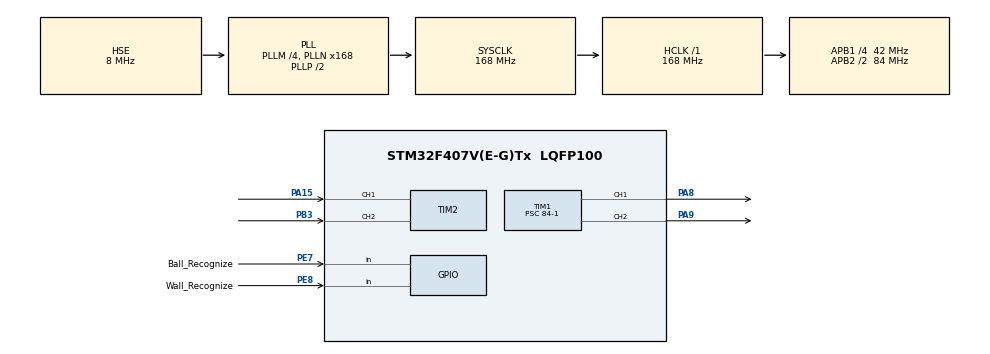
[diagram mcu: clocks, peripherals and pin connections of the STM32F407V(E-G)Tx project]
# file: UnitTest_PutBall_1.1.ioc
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FREERTOS.Tasks01=AccelTask,1,128,StartAccelTask,Default,NULL,Dynamic,NULL,NULL;LogicTask,-1,128,StartLogicTask,Default,NULL,Dynamic,NULL,NULL
Mcu.Family=STM32F4
Mcu.Name=STM32F407V(E-G)Tx
Mcu.Package=LQFP100
NVIC.PriorityGroup=NVIC_PRIORITYGROUP_4
NVIC.TIM2_IRQn=true\:5\:0\:false\:false\:true\:true\:true\:true\:true
NVIC.TIM8_TRG_COM_TIM14_IRQn=true\:15\:0\:false\:false\:true\:false\:false\:true\:true
NVIC.TimeBase=TIM8_TRG_COM_TIM14_IRQn
NVIC.TimeBaseIP=TIM14
PA13.Mode=Serial_Wire
PA13.Signal=SYS_JTMS-SWDIO
PA14.Mode=Serial_Wire
PA14.Signal=SYS_JTCK-SWCLK
PA15.Signal=S_TIM2_CH1_ETR
PA8.Signal=S_TIM1_CH1
PA9.Signal=S_TIM1_CH2
PB3.Signal=S_TIM2_CH2
PE7.GPIO_Label=Ball_Recognize
PE7.Signal=GPIO_Input
PE8.GPIO_Label=Wall_Recognize
PE8.Signal=GPIO_Input
PH0-OSC_IN.Mode=HSE-External-Oscillator
PH0-OSC_IN.Signal=RCC_OSC_IN
PH1-OSC_OUT.Mode=HSE-External-Oscillator
PH1-OSC_OUT.Signal=RCC_OSC_OUT
ProjectManager.HeapSize=0x200
ProjectManager.StackSize=0x400
ProjectManager.TargetToolchain=STM32CubeIDE
RCC.48MHZClocksFreq_Value=84000000
RCC.AHBFreq_Value=168000000
RCC.APB1CLKDivider=RCC_HCLK_DIV4
RCC.APB1Freq_Value=42000000
RCC.APB1TimFreq_Value=84000000
RCC.APB2CLKDivider=RCC_HCLK_DIV2
RCC.APB2Freq_Value=84000000
RCC.APB2TimFreq_Value=168000000
RCC.CortexFreq_Value=168000000
RCC.HCLKFreq_Value=168000000
RCC.HSE_VALUE=8000000
RCC.HSI_VALUE=16000000
RCC.LSE_VALUE=32768
RCC.PLLM=4
RCC.PLLN=168
RCC.PLLSourceVirtual=RCC_PLLSOURCE_HSE
RCC.SYSCLKFreq_VALUE=168000000
RCC.SYSCLKSource=RCC_SYSCLKSOURCE_PLLCLK
RCC.VCOOutputFreq_Value=336000000
SH.S_TIM1_CH1.0=TIM1_CH1,PWM Generation1 CH1
SH.S_TIM1_CH2.0=TIM1_CH2,PWM Generation2 CH2
SH.S_TIM2_CH1_ETR.0=TIM2_CH1,Encoder_Interface
SH.S_TIM2_CH2.0=TIM2_CH2,Encoder_Interface
TIM1.Channel-PWM\ Generation1\ CH1=TIM_CHANNEL_1
TIM1.Channel-PWM\ Generation2\ CH2=TIM_CHANNEL_2
TIM1.Period=1000-1
TIM1.Prescaler=84-1
TIM2.EncoderMode=TIM_ENCODERMODE_TI12
VP_FREERTOS_VS_CMSIS_V1.Mode=CMSIS_V1
VP_SYS_VS_tim14.Mode=TIM14
VP_TIM1_VS_ClockSourceINT.Mode=Internal
board=custom

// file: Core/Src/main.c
/* USER CODE BEGIN Header */
/**
  ******************************************************************************
  * @file           : main.c
  * @brief          : Main program body
  ******************************************************************************
  * @attention
  *
  * Copyright (c) 2023 STMicroelectronics.
  * All rights reserved.
  *
  * This software is licensed under terms that can be found in the LICENSE file
  * in the root directory of this software component.
  * If no LICENSE file comes with this software, it is provided AS-IS.
  *
  ******************************************************************************
  */
/* USER CODE END Header */
#include "main.h"
#include "cmsis_os.h"

/* USER CODE BEGIN Includes */
#include "DriveMotor.h"
#include "Accel.h"
#include "Encoder.h"
/* USER CODE END Includes */

TIM_HandleTypeDef htim1;
TIM_HandleTypeDef htim2;

osThreadId AccelTaskHandle;
osThreadId LogicTaskHandle;
/* USER CODE BEGIN PV */
float Target_PWM;
float Target_Time;

uint8_t putBallFlag = 0;
uint16_t attempt = 0;
uint8_t __isBall = 0;
uint8_t __isWall = 0;
uint8_t __isReady = 0;
uint8_t Ball_State = 0;
uint8_t Wall_State = 0;
uint16_t Ball_RecognizeTime = 0;
uint16_t Wall_RecognizeTime = 0;

MotorDrive DC;
Accel_Param Accel_DC;
EncoderRead ENC_DC;
/* USER CODE END PV */

void SystemClock_Config(void);
static void MX_GPIO_Init(void);
static void MX_TIM1_Init(void);
static void MX_TIM2_Init(void);
void StartAccelTask(void const * argument);
void StartLogicTask(void const * argument);

/* USER CODE BEGIN 0 */
void Manual_SetHome()
{
	DC_Drive_BTS(&DC, &htim1, 1000, 200, TIM_CHANNEL_1, TIM_CHANNEL_2);
	osDelay(5000);
	DC_Drive_BTS(&DC, &htim1, 1000, 0, TIM_CHANNEL_1, TIM_CHANNEL_2);
	ResetCount(&ENC_DC, 1);
	__isReady = 1;

}

void PutBall()
{
//	if(putBallFlag == 1)
//	{
//		attempt++;
//		if(attempt > 400)
//		{
//			ResetCount(&ENC_DC, 1);
//			Target_PWM = 300;
//			Target_Time = 2;
//			putBallFlag = 2;
//			attempt = 0;
//		}
// 	}
// 	else if(putBallFlag == 2)
// 	{
// 		if(CountRead(&ENC_DC, count_ModeX1) > 95000)
// 		{
// 			Target_PWM = 0;
// 			Target_Time = 1;
// 	 		attempt++;
// 	 		if(attempt > 200)
// 	 		{
// 	 			ResetCount(&ENC_DC, 1);
// 	 			attempt = 0;
// 				putBallFlag = 0;
// 	 		}
// 		}
// 	}
// 	else
// 	{
// 		if(CountRead(&ENC_DC, count_ModeX1) >= -40000)
// 		{
// 			Target_PWM = -400;
// 			Target_Time = 0.5;
// 		}
// 		if(CountRead(&ENC_DC, count_ModeX1) < -40000)
// 		{
// 			Target_PWM = 0;
// 			Target_Time = 1;
// 			putBallFlag = 1;
// 		}
// 	}
	if(__isBall)
	{
		if(!putBallFlag)
		{
			if(!__isWall)
			{
				if(CountRead(&ENC_DC, count_ModeX1) >= -70000)
				{
					Target_PWM = -300;
					Target_Time = 0.5;
				}
				else if(CountRead(&ENC_DC, count_ModeX1) < -70000)
				{
					Target_PWM = 0;
					Target_Time = 0.1;
				}
			}
			else
			{
				if(CountRead(&ENC_DC, count_ModeX1) >= -80000)
				{
					Target_PWM = -400;
					Target_Time = 0.1;
				}
				else if(CountRead(&ENC_DC, count_ModeX1) < -82000)
				{
					Target_PWM = 0;
					Target_Time = 1.4;
					attempt++;
					if(attempt > 200)
					{
						attempt = 0;
						putBallFlag = 1;
					}
				}
			}
		}
		else
		{
			if(CountRead(&ENC_DC, count_ModeX1) < -20000)
			{
				Target_PWM = 300;
				Target_Time = 1;
			}
			else
			{
				Target_PWM = 0;
				Target_Time = 0.8;
				attempt++;
				if(attempt > 200)
				{
					ResetCount(&ENC_DC, 1);
					__isBall = 0;
					__isWall = 0;
					attempt = 0;
					Ball_RecognizeTime = 0;
					Wall_RecognizeTime = 0;
					putBallFlag = 0;
				}
			}
		}
	}
	Accel_Cal(&Accel_DC, Target_PWM, Target_Time);
	DC_Drive_BTS(&DC, &htim1, 1000, Accel_DC.vel_controller, TIM_CHANNEL_1, TIM_CHANNEL_2);
}
/* USER CODE END 0 */

int main(void)
{

  /* MCU Configuration--------------------------------------------------------*/

  /* Reset of all peripherals, Initializes the Flash interface and the Systick. */
  HAL_Init();

  /* Configure the system clock */
  SystemClock_Config();

  /* Initialize all configured peripherals */
  MX_GPIO_Init();
  MX_TIM1_Init();
  MX_TIM2_Init();
  /* USER CODE BEGIN 2 */
  HAL_TIM_PWM_Start(&htim1, TIM_CHANNEL_1);
  HAL_TIM_PWM_Start(&htim1, TIM_CHANNEL_2);

  HAL_TIM_Encoder_Start_IT(&htim2, TIM_CHANNEL_ALL);
  EncoderSetting(&ENC_DC, &htim2, 19200, 0.001);
  /* USER CODE END 2 */

  /* Create the thread(s) */
  /* definition and creation of AccelTask */
  osThreadDef(AccelTask, StartAccelTask, osPriorityAboveNormal, 0, 128);
  AccelTaskHandle = osThreadCreate(osThread(AccelTask), NULL);

  /* definition and creation of LogicTask */
  osThreadDef(LogicTask, StartLogicTask, osPriorityBelowNormal, 0, 128);
  LogicTaskHandle = osThreadCreate(osThread(LogicTask), NULL);

  /* Start scheduler */
  osKernelStart();

  /* We should never get here as control is now taken by the scheduler */
  /* Infinite loop */
  while (1)
  {

  }
}

void SystemClock_Config(void)
{
  RCC_OscInitTypeDef RCC_OscInitStruct = {0};
  RCC_ClkInitTypeDef RCC_ClkInitStruct = {0};

  /** Configure the main internal regulator output voltage
  */
  __HAL_RCC_PWR_CLK_ENABLE();
  __HAL_PWR_VOLTAGESCALING_CONFIG(PWR_REGULATOR_VOLTAGE_SCALE1);

  /** Initializes the RCC Oscillators according to the specified parameters
  * in the RCC_OscInitTypeDef structure.
  */
  RCC_OscInitStruct.OscillatorType = RCC_OSCILLATORTYPE_HSE;
  RCC_OscInitStruct.HSEState = RCC_HSE_ON;
  RCC_OscInitStruct.PLL.PLLState = RCC_PLL_ON;
  RCC_OscInitStruct.PLL.PLLSource = RCC_PLLSOURCE_HSE;
  RCC_OscInitStruct.PLL.PLLM = 4;
  RCC_OscInitStruct.PLL.PLLN = 168;
  RCC_OscInitStruct.PLL.PLLP = RCC_PLLP_DIV2;
  RCC_OscInitStruct.PLL.PLLQ = 4;
  if (HAL_RCC_OscConfig(&RCC_OscInitStruct) != HAL_OK)
  {
    Error_Handler();
  }

  /** Initializes the CPU, AHB and APB buses clocks
  */
  RCC_ClkInitStruct.ClockType = RCC_CLOCKTYPE_HCLK|RCC_CLOCKTYPE_SYSCLK
                              |RCC_CLOCKTYPE_PCLK1|RCC_CLOCKTYPE_PCLK2;
  RCC_ClkInitStruct.SYSCLKSource = RCC_SYSCLKSOURCE_PLLCLK;
  RCC_ClkInitStruct.AHBCLKDivider = RCC_SYSCLK_DIV1;
  RCC_ClkInitStruct.APB1CLKDivider = RCC_HCLK_DIV4;
  RCC_ClkInitStruct.APB2CLKDivider = RCC_HCLK_DIV2;

  if (HAL_RCC_ClockConfig(&RCC_ClkInitStruct, FLASH_LATENCY_5) != HAL_OK)
  {
    Error_Handler();
  }
}

static void MX_TIM1_Init(void)
{

  TIM_ClockConfigTypeDef sClockSourceConfig = {0};
  TIM_MasterConfigTypeDef sMasterConfig = {0};
  TIM_OC_InitTypeDef sConfigOC = {0};
  TIM_BreakDeadTimeConfigTypeDef sBreakDeadTimeConfig = {0};

  htim1.Instance = TIM1;
  htim1.Init.Prescaler = 84-1;
  htim1.Init.CounterMode = TIM_COUNTERMODE_UP;
  htim1.Init.Period = 1000-1;
  htim1.Init.ClockDivision = TIM_CLOCKDIVISION_DIV1;
  htim1.Init.RepetitionCounter = 0;
  htim1.Init.AutoReloadPreload = TIM_AUTORELOAD_PRELOAD_DISABLE;
  if (HAL_TIM_Base_Init(&htim1) != HAL_OK)
  {
    Error_Handler();
  }
  sClockSourceConfig.ClockSource = TIM_CLOCKSOURCE_INTERNAL;
  if (HAL_TIM_ConfigClockSource(&htim1, &sClockSourceConfig) != HAL_OK)
  {
    Error_Handler();
  }
  if (HAL_TIM_PWM_Init(&htim1) != HAL_OK)
  {
    Error_Handler();
  }
  sMasterConfig.MasterOutputTrigger = TIM_TRGO_RESET;
  sMasterConfig.MasterSlaveMode = TIM_MASTERSLAVEMODE_DISABLE;
  if (HAL_TIMEx_MasterConfigSynchronization(&htim1, &sMasterConfig) != HAL_OK)
  {
    Error_Handler();
  }
  sConfigOC.OCMode = TIM_OCMODE_PWM1;
  sConfigOC.Pulse = 0;
  sConfigOC.OCPolarity = TIM_OCPOLARITY_HIGH;
  sConfigOC.OCNPolarity = TIM_OCNPOLARITY_HIGH;
  sConfigOC.OCFastMode = TIM_OCFAST_DISABLE;
  sConfigOC.OCIdleState = TIM_OCIDLESTATE_RESET;
  sConfigOC.OCNIdleState = TIM_OCNIDLESTATE_RESET;
  if (HAL_TIM_PWM_ConfigChannel(&htim1, &sConfigOC, TIM_CHANNEL_1) != HAL_OK)
  {
    Error_Handler();
  }
  if (HAL_TIM_PWM_ConfigChannel(&htim1, &sConfigOC, TIM_CHANNEL_2) != HAL_OK)
  {
    Error_Handler();
  }
  sBreakDeadTimeConfig.OffStateRunMode = TIM_OSSR_DISABLE;
  sBreakDeadTimeConfig.OffStateIDLEMode = TIM_OSSI_DISABLE;
  sBreakDeadTimeConfig.LockLevel = TIM_LOCKLEVEL_OFF;
  sBreakDeadTimeConfig.DeadTime = 0;
  sBreakDeadTimeConfig.BreakState = TIM_BREAK_DISABLE;
  sBreakDeadTimeConfig.BreakPolarity = TIM_BREAKPOLARITY_HIGH;
  sBreakDeadTimeConfig.AutomaticOutput = TIM_AUTOMATICOUTPUT_DISABLE;
  if (HAL_TIMEx_ConfigBreakDeadTime(&htim1, &sBreakDeadTimeConfig) != HAL_OK)
  {
    Error_Handler();
  }
  HAL_TIM_MspPostInit(&htim1);

}

static void MX_TIM2_Init(void)
{

  TIM_Encoder_InitTypeDef sConfig = {0};
  TIM_MasterConfigTypeDef sMasterConfig = {0};

  htim2.Instance = TIM2;
  htim2.Init.Prescaler = 0;
  htim2.Init.CounterMode = TIM_COUNTERMODE_UP;
  htim2.Init.Period = 4294967295;
  htim2.Init.ClockDivision = TIM_CLOCKDIVISION_DIV1;
  htim2.Init.AutoReloadPreload = TIM_AUTORELOAD_PRELOAD_DISABLE;
  sConfig.EncoderMode = TIM_ENCODERMODE_TI12;
  sConfig.IC1Polarity = TIM_ICPOLARITY_RISING;
  sConfig.IC1Selection = TIM_ICSELECTION_DIRECTTI;
  sConfig.IC1Prescaler = TIM_ICPSC_DIV1;
  sConfig.IC1Filter = 0;
  sConfig.IC2Polarity = TIM_ICPOLARITY_RISING;
  sConfig.IC2Selection = TIM_ICSELECTION_DIRECTTI;
  sConfig.IC2Prescaler = TIM_ICPSC_DIV1;
  sConfig.IC2Filter = 0;
  if (HAL_TIM_Encoder_Init(&htim2, &sConfig) != HAL_OK)
  {
    Error_Handler();
  }
  sMasterConfig.MasterOutputTrigger = TIM_TRGO_RESET;
  sMasterConfig.MasterSlaveMode = TIM_MASTERSLAVEMODE_DISABLE;
  if (HAL_TIMEx_MasterConfigSynchronization(&htim2, &sMasterConfig) != HAL_OK)
  {
    Error_Handler();
  }

}

static void MX_GPIO_Init(void)
{
  GPIO_InitTypeDef GPIO_InitStruct = {0};

  /* GPIO Ports Clock Enable */
  __HAL_RCC_GPIOH_CLK_ENABLE();
  __HAL_RCC_GPIOE_CLK_ENABLE();
  __HAL_RCC_GPIOA_CLK_ENABLE();
  __HAL_RCC_GPIOB_CLK_ENABLE();

  /*Configure GPIO pins : Ball_Recognize_Pin Wall_Recognize_Pin */
  GPIO_InitStruct.Pin = Ball_Recognize_Pin|Wall_Recognize_Pin;
  GPIO_InitStruct.Mode = GPIO_MODE_INPUT;
  GPIO_InitStruct.Pull = GPIO_NOPULL;
  HAL_GPIO_Init(GPIOE, &GPIO_InitStruct);

}

void StartAccelTask(void const * argument)
{
  /* USER CODE BEGIN 5 */
  /* Infinite loop */
  for(;;)
  {
	if(!__isReady)
	{
		Manual_SetHome();
	}
	else
	{
		PutBall();
	}
    osDelay(10);
  }
  /* USER CODE END 5 */
}

void StartLogicTask(void const * argument)
{
  /* USER CODE BEGIN StartLogicTask */
  /* Infinite loop */
  for(;;)
  {
	CountRead(&ENC_DC, count_ModeX1);
	Ball_State = HAL_GPIO_ReadPin(Ball_Recognize_GPIO_Port, Ball_Recognize_Pin);
	Wall_State = HAL_GPIO_ReadPin(Wall_Recognize_GPIO_Port, Wall_Recognize_Pin);
	if(!Ball_State)
	{
		if(Ball_RecognizeTime >= 2000)
		{
			__isBall = 1;
			if(Wall_State)
			{
				if(Wall_RecognizeTime >= 1000)
				{
					__isWall = 1;
				}
				else
				{
					Wall_RecognizeTime++;
				}
			}
		}
		else
		{
			Ball_RecognizeTime++;
		}
	}
    osDelay(1);
  }
  /* USER CODE END StartLogicTask */
}

void HAL_TIM_PeriodElapsedCallback(TIM_HandleTypeDef *htim)
{
  if (htim->Instance == TIM14) {
    HAL_IncTick();
  }
}

void Error_Handler(void)
{
  __disable_irq();
  while (1)
  {
  }
}
